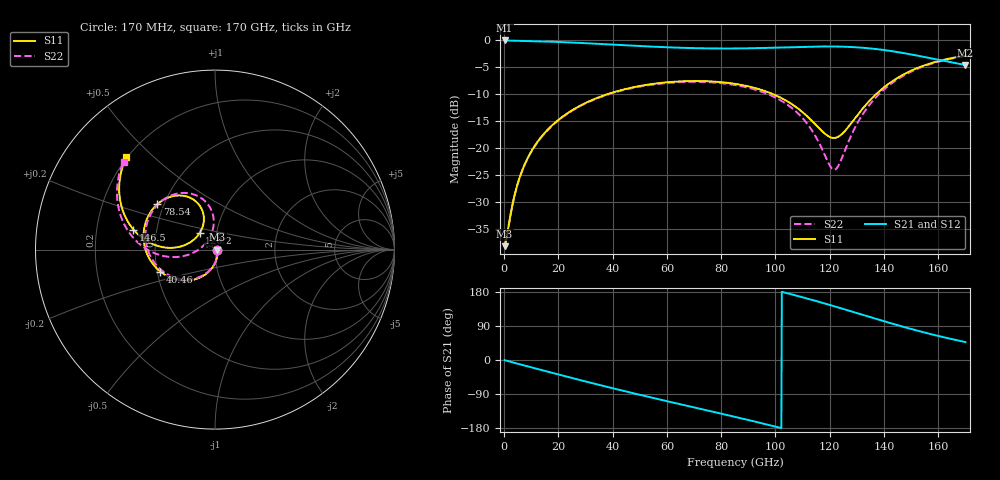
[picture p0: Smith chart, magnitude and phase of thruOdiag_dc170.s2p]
! Touchstone file exported from HFSS 2024.2.0
!  File:  C:/Users/nathan/Desktop/Ansys_HFSS/OnWaferCal-Standards-2p5umM9.aedt
!  Generated:  11:39:36 PM May 21, 2025
!  Design:  1_thru-o-diag
!  Project:  OnWaferCal-Standards-2p5umM9
!  Setup:  sim_dc170
!  Solution:  broad
! Variables:
!  IMD10A_h = 0.06um
!  IMD10B_h = 0.6um
!  IMD10C_h = 0.17um
!  IMD10D_h = 0.712um
!  IMD11A_h = 0.06um
!  IMD11B_h = 0.53um
!  IMD11C_h = 0.2um
!  IMD11D_h = 3.2um
!  IMD1A_h = 0.02um
!  IMD1B_h = 0.045um
!  IMD2t7A_h = 0.025um
!  IMD2t7B_h = 0.065um
!  IMD2t7C_h = 0.09um
!  Passivation1_h = 0.07um
!  Passivation2_h = 0.7um
!  Passivation3_h = 0.4um
!  Passivation4_h = 0.5um
!  landingpad_g_cut = 50um
!  landingpad_width_half = 1.25um
!  p1P9M1A1U_x = 0um
!  p1P9M1A1U_y = 0um
!  w1P9M1A1U_x = 562.5um
!  w1P9M1A1U_y = 562.5um
# GHz S MA R 50.000000
! Terminal data exported
! Port[1] = 1
! Port[2] = 2
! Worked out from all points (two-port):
!   1000 points, 170 MHz to 170 GHz, reference 50 ohm
!   highest |S21| = -0.11 dB at 170 MHz (marker M1); lowest = -4.6 dB at 170 GHz (marker M2)
!   |S21| within 3 dB of the highest: start of sweep to 154.3 GHz
!   lowest |S11| = -38.2 dB at 170 MHz (marker M3), VSWR 1.02, Z = 51.2 - j0.0976 ohm
!   |S11| at or under -10 dB: start of sweep to 38.42 GHz; 98.86 GHz to 137.2 GHz (38.37 GHz wide, 32.5 % of centre)
!   |S22| runs from -38.2 to -3.0 dB; largest |S21 - S12| = 6.4e-14
!   S11 on the Smith chart (normalised r, x): 170 MHz: 1.02, -0.00; 40.46 GHz: 0.52, -0.14; 78.54 GHz: 0.46, +0.28; 120.2 GHz: 0.83, +0.15; 146.5 GHz: 0.37, +0.11; 170 GHz: 0.20, +0.41
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0.17  0.01229 -4.4  0.9877 -0.4  0.9877 -0.4  0.01228 -4.4
! Gamma 0 0 0 0
! Port Impedance 50 0 50 0
4.76  0.04453 -75.3  0.9811 -9.4  0.9811 -9.4  0.04425 -75.6
6.97  0.06472 -85.6  0.9783 -13.6  0.9783 -13.6  0.06425 -86.1
9.52  0.08824 -94.3  0.975 -18.4  0.975 -18.4  0.08754 -94.9
17.34  0.1587 -113.8  0.962 -33.2  0.962 -33.2  0.1573 -114.9
28.56  0.2499 -136.4  0.9358 -54.0  0.9358 -54.0  0.2474 -138.1
40.46  0.3281 -158.0  0.9027 -75.3  0.9027 -75.3  0.3244 -160.5
48.45  0.3677 -171.6  0.8808 -89.2  0.8808 -89.2  0.3631 -174.6
56.78  0.3969 174.8  0.8607 -103.3  0.8607 -103.3  0.3914 171.2
67.32  0.415 158.4  0.8418 -120.8  0.8418 -120.8  0.4083 154.0
78.54  0.4088 141.8  0.8325 -139.2  0.8325 -139.2  0.4005 136.3
85.17  0.3913 132.4  0.8328 -150.2  0.8328 -150.2  0.3816 126.1
102.17  0.2894 111.7  0.8508 -179.8  0.8508 -179.8  0.2728 101.2
108.29  0.2314 108.0  0.8601 168.8  0.8601 168.8  0.2086 94.3
113.39  0.1783 110.3  0.8664 158.8  0.8664 158.8  0.1457 92.7
120.19  0.1255 133.1  0.8692 144.9  0.8692 144.9  0.06748 122.1
122.74  0.1253 148.3  0.8678 139.5  0.8678 139.5  0.06556 155.7
131.75  0.225 177.2  0.8471 120.1  0.8471 120.1  0.1972 -168.5
141.78  0.3929 172.2  0.7938 98.5  0.7938 98.5  0.3781 179.9
146.54  0.4682 166.2  0.7598 88.7  0.7598 88.7  0.4563 172.2
157.76  0.6126 150.3  0.6719 67.4  0.6719 67.4  0.6044 154.0
170  0.7134 133.9  0.5856 47.3  0.5856 47.3  0.7072 136.1
